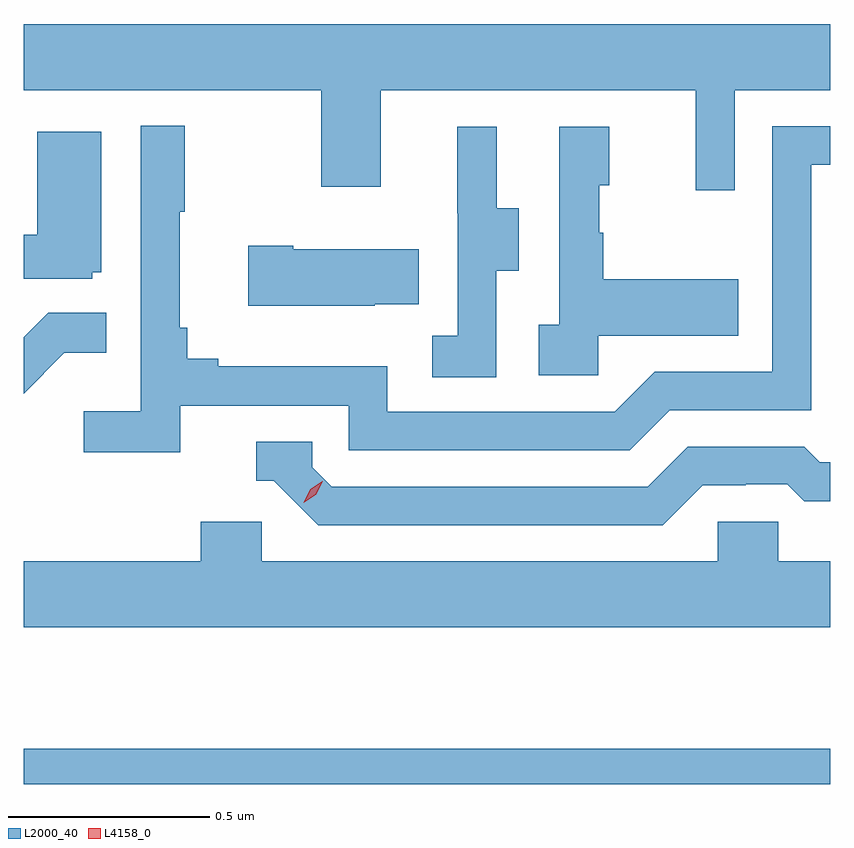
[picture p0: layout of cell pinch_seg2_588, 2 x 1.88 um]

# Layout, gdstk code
import gdstk
lib = gdstk.Library(unit=1e-6, precision=1e-09)
def R(c, l, rs):  # rectangles x0, y0, x1, y1
    for r in rs: c.add(gdstk.rectangle(r[:2], r[2:], *l))
def P(c, l, *ps):  # polygons
    for p in ps: c.add(gdstk.Polygon(p, *l))
L2000_40 = (2000, 40)
L4158_0 = (4158, 0)

pinch_seg2_588 = lib.new_cell('pinch_seg2_588')
R(pinch_seg2_588, L2000_40, [(1080.394,609.952,1082.394,610.039)])
P(pinch_seg2_588, L2000_40, [(1082.157,611.672),(1082.394,611.672),(1082.394,611.836),(1080.394,611.836),(1080.394,611.672),(1081.132,611.672),(1081.132,611.433),(1081.279,611.433),(1081.279,611.672),(1082.06,611.672),(1082.06,611.424),(1082.157,611.424)],
  [(1080.782,610.89),(1081.2,610.89),(1081.2,610.779),(1081.897,610.779),(1081.996,610.878),(1082.346,610.878),(1082.346,611.487),(1082.394,611.487),(1082.394,611.583),(1082.25,611.583),(1082.25,610.974),(1081.959,610.974),(1081.86,610.875),(1081.296,610.875),(1081.296,610.987),(1080.877,610.987),(1080.877,611.006),(1080.8,611.006),(1080.8,611.083),(1080.781,611.083),(1080.781,611.371),(1080.793,611.371),(1080.793,611.584),(1080.684,611.584),(1080.684,610.876),(1080.543,610.876),(1080.543,610.774),(1080.782,610.774)],
  [(1081.566,611.224),(1081.621,611.224),(1081.621,611.379),(1081.567,611.379),(1081.567,611.581),(1081.469,611.581),(1081.469,611.367),(1081.47,611.367),(1081.47,611.063),(1081.407,611.063),(1081.407,610.96),(1081.566,610.96)],
  [(1081.818,611.063),(1082.165,611.063),(1082.165,611.203),(1081.831,611.203),(1081.831,611.318),(1081.821,611.318),(1081.821,611.436),(1081.846,611.436),(1081.846,611.581),(1081.722,611.581),(1081.722,611.09),(1081.671,611.09),(1081.671,610.965),(1081.818,610.965)],
  [(1080.564,611.22),(1080.586,611.22),(1080.586,611.569),(1080.428,611.569),(1080.428,611.314),(1080.394,611.314),(1080.394,611.205),(1080.564,611.205)],
  [(1081.265,611.141),(1081.373,611.141),(1081.373,611.278),(1081.063,611.278),(1081.063,611.286),(1080.951,611.286),(1080.951,611.138),(1081.265,611.138)],
  [(1080.495,611.021),(1080.599,611.021),(1080.599,611.12),(1080.455,611.12),(1080.394,611.059),(1080.394,610.92)],
  [(1082.077,610.692),(1082.184,610.692),(1082.184,610.695),(1082.287,610.695),(1082.329,610.653),(1082.394,610.653),(1082.394,610.749),(1082.368,610.749),(1082.329,610.788),(1082.04,610.788),(1081.941,610.689),(1081.158,610.689),(1081.11,610.737),(1081.11,610.8),(1080.971,610.8),(1080.971,610.704),(1081.014,610.704),(1081.125,610.593),(1081.978,610.593)],
  [(1082.394,610.504),(1082.265,610.504),(1082.265,610.602),(1082.115,610.602),(1082.115,610.504),(1080.984,610.504),(1080.984,610.602),(1080.833,610.602),(1080.833,610.504),(1080.394,610.504),(1080.394,610.34),(1082.394,610.34)])
P(pinch_seg2_588, L4158_0, [(1081.088,610.649),(1081.088,610.65),(1081.104,610.683),(1081.134,610.703),(1081.135,610.703),(1081.135,610.703),(1081.119,610.67),(1081.088,610.649)])

lib.write_gds('pinch_seg2_588.gds')
